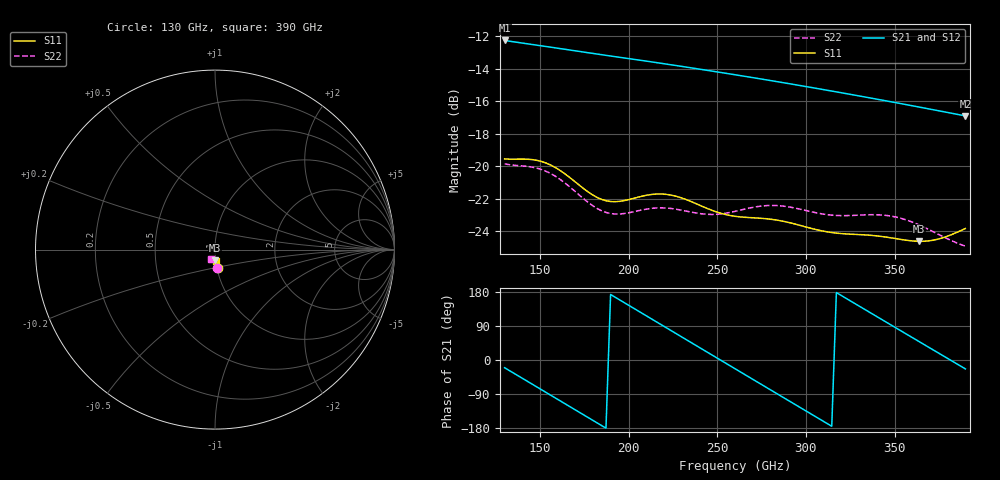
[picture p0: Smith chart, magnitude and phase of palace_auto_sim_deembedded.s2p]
! Created with skrf 1.11.0 (http://scikit-rf.org).
# GHz S DB R 50.0
!freq dBS11 angS11 dBS21 angS21 dBS12 angS12 dBS22 angS22
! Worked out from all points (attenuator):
!   101 points, 130 GHz to 390 GHz, reference 50 ohm
!   highest |S21| = -12.25 dB at 130 GHz (marker M1); lowest = -16.9 dB at 390 GHz (marker M2)
!   lowest |S11| = -24.6 dB at 364 GHz (marker M3), VSWR 1.12, Z = 49.9 - j5.87 ohm
!   |S11| at or under -10 dB: start of sweep to end of sweep
!   |S22| runs from -24.9 to -19.9 dB; largest |S21 - S12| = 2.7e-14
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130  -19.55 -79.8  -12.25 -20.4  -12.25 -20.4  -19.86 -82.2
143  -19.57 -80.7  -12.46 -56.6  -12.46 -56.6  -20.02 -82.6
153.4  -19.81 -84.3  -12.62 -85.6  -12.62 -85.6  -20.32 -85.8
163.8  -20.45 -87.9  -12.79 -114.6  -12.79 -114.6  -21.02 -89.0
174.2  -21.35 -88.8  -12.96 -143.6  -12.96 -143.6  -21.97 -89.7
184.6  -22.04 -86.5  -13.12 -172.6  -13.12 -172.6  -22.75 -86.9
195  -22.17 -83.3  -13.29 158.4  -13.29 158.4  -22.95 -83.1
208  -21.84 -83.0  -13.49 122.1  -13.49 122.1  -22.69 -81.6
218.4  -21.72 -85.7  -13.66 93.1  -13.66 93.1  -22.57 -83.0
228.8  -21.92 -89.0  -13.83 64.0  -13.83 64.0  -22.69 -84.6
241.8  -22.49 -91.4  -14.05 27.8  -14.05 27.8  -22.95 -85.1
260  -23.09 -90.9  -14.36 -23.0  -14.36 -23.0  -22.79 -84.7
280.8  -23.28 -91.7  -14.73 -80.9  -14.73 -80.9  -22.42 -89.4
291.2  -23.50 -92.7  -14.92 -109.8  -14.92 -109.8  -22.53 -92.7
304.2  -23.87 -92.9  -15.17 -146.0  -15.17 -146.0  -22.84 -95.4
314.6  -24.09 -92.2  -15.37 -174.9  -15.37 -174.9  -23.02 -96.4
325  -24.19 -91.4  -15.57 156.3  -15.57 156.3  -23.04 -97.5
338  -24.28 -91.0  -15.83 120.2  -15.83 120.2  -22.99 -100.3
348.4  -24.43 -90.6  -16.04 91.4  -16.04 91.4  -23.09 -103.6
364  -24.63 -88.1  -16.36 48.3  -16.36 48.3  -23.63 -108.5
377  -24.43 -84.7  -16.63 12.4  -16.63 12.4  -24.32 -110.5
390  -23.84 -83.1  -16.90 -23.5  -16.90 -23.5  -24.93 -110.2
